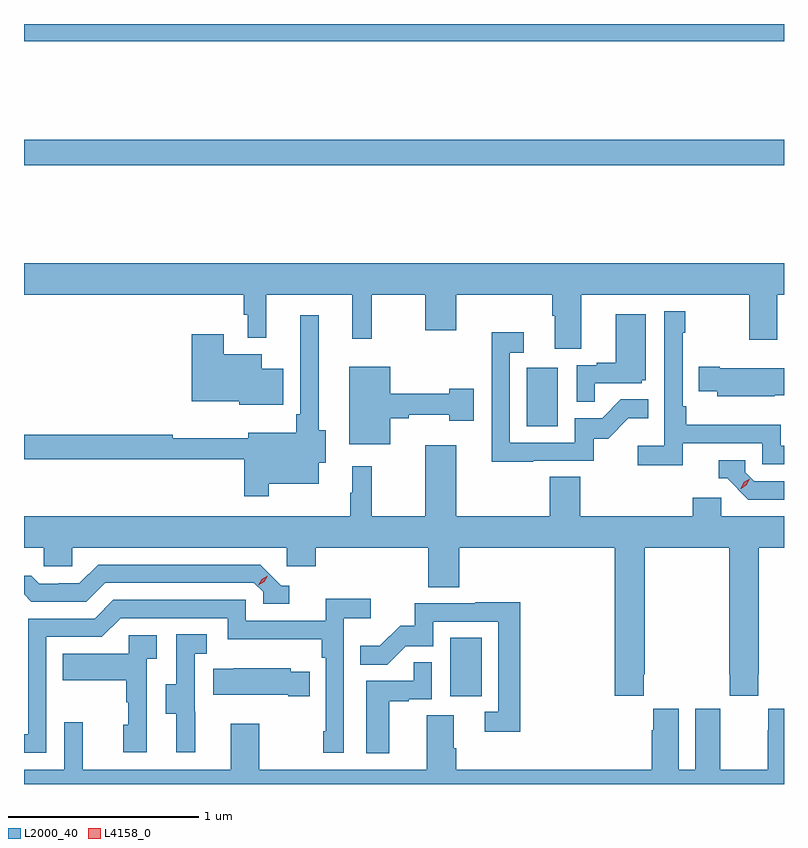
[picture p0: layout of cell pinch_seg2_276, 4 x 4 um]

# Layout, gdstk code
import gdstk
lib = gdstk.Library(unit=1e-6, precision=1e-09)
def R(c, l, rs):  # rectangles x0, y0, x1, y1
    for r in rs: c.add(gdstk.rectangle(r[:2], r[2:], *l))
def P(c, l, *ps):  # polygons
    for p in ps: c.add(gdstk.Polygon(p, *l))
L2000_40 = (2000, 40)
L4158_0 = (4158, 0)

pinch_seg2_276 = lib.new_cell('pinch_seg2_276')
R(pinch_seg2_276, L2000_40, [(932.372,630.87,932.536,631.177), (932.774,632.292,932.938,632.599), (930.128,633.664,934.128,633.8), (930.128,634.316,934.128,634.408)])
P(pinch_seg2_276, L2000_40, [(933.061,632.984),(933.946,632.984),(933.946,632.745),(934.093,632.745),(934.093,632.984),(934.128,632.984),(934.128,633.148),(930.128,633.148),(930.128,632.984),(931.285,632.984),(931.285,632.877),(931.305,632.877),(931.305,632.756),(931.403,632.756),(931.403,632.984),(931.856,632.984),(931.856,632.751),(931.958,632.751),(931.958,632.984),(932.24,632.984),(932.24,632.796),(932.404,632.796),(932.404,632.984),(932.909,632.984),(932.909,632.872),(932.921,632.872),(932.921,632.698),(933.061,632.698)],
  [(933.596,632.202),(934.014,632.202),(934.014,632.091),(934.128,632.091),(934.128,632.187),(934.11,632.187),(934.11,632.299),(933.614,632.299),(933.614,632.395),(933.594,632.395),(933.594,632.783),(933.607,632.783),(933.607,632.896),(933.498,632.896),(933.498,632.188),(933.357,632.188),(933.357,632.086),(933.596,632.086)],
  [(933.131,632.517),(933.378,632.517),(933.378,632.532),(933.4,632.532),(933.4,632.881),(933.242,632.881),(933.242,632.626),(933.143,632.626),(933.143,632.613),(933.036,632.613),(933.036,632.419),(933.131,632.419)],
  [(931.417,631.988),(931.678,631.988),(931.678,632.099),(931.717,632.099),(931.717,632.27),(931.678,632.27),(931.678,632.875),(931.581,632.875),(931.581,632.353),(931.561,632.353),(931.561,632.257),(931.307,632.257),(931.307,632.228),(930.911,632.228),(930.911,632.246),(930.128,632.246),(930.128,632.118),(931.288,632.118),(931.288,631.923),(931.417,631.923)],
  [(932.807,632.109),(933.126,632.109),(933.126,632.226),(933.202,632.226),(933.309,632.333),(933.413,632.333),(933.413,632.432),(933.269,632.432),(933.171,632.334),(933.027,632.334),(933.027,632.205),(932.685,632.205),(932.685,632.679),(932.758,632.679),(932.758,632.785),(932.589,632.785),(932.589,632.104),(932.807,632.104)],
  [(931.492,632.593),(931.378,632.593),(931.378,632.671),(931.18,632.671),(931.18,632.776),(931.01,632.776),(931.01,632.423),(931.26,632.423),(931.26,632.405),(931.492,632.405)],
  [(932.056,632.332),(932.152,632.332),(932.152,632.351),(932.365,632.351),(932.365,632.321),(932.494,632.321),(932.494,632.487),(932.365,632.487),(932.365,632.461),(932.056,632.461),(932.056,632.605),(931.841,632.605),(931.841,632.195),(932.056,632.195)],
  [(934.079,632.453),(934.128,632.453),(934.128,632.596),(933.79,632.596),(933.79,632.604),(933.679,632.604),(933.679,632.474),(933.777,632.474),(933.777,632.45),(934.079,632.45)],
  [(933.389,630.985),(933.396,630.985),(933.396,631.652),(933.841,631.652),(933.841,630.985),(933.843,630.985),(933.843,630.873),(933.993,630.873),(933.993,630.985),(933.996,630.985),(933.996,631.652),(934.128,631.652),(934.128,631.816),(933.798,631.816),(933.798,631.914),(933.647,631.914),(933.647,631.816),(933.056,631.816),(933.056,632.024),(932.896,632.024),(932.896,631.816),(932.404,631.816),(932.404,632.191),(932.24,632.191),(932.24,631.816),(931.958,631.816),(931.958,632.08),(931.856,632.08),(931.856,631.94),(931.845,631.94),(931.845,631.816),(930.128,631.816),(930.128,631.652),(930.231,631.652),(930.231,631.554),(930.381,631.554),(930.381,631.652),(931.512,631.652),(931.512,631.554),(931.664,631.554),(931.664,631.652),(932.255,631.652),(932.255,631.444),(932.42,631.444),(932.42,631.652),(933.236,631.652),(933.236,630.873),(933.389,630.873)],
  [(934.128,632.001),(933.972,632.001),(933.924,632.049),(933.924,632.112),(933.785,632.112),(933.785,632.016),(933.828,632.016),(933.939,631.905),(934.128,631.905)],
  [(931.525,631.452),(931.482,631.452),(931.371,631.563),(930.518,631.563),(930.419,631.464),(930.312,631.464),(930.312,631.461),(930.209,631.461),(930.167,631.504),(930.128,631.504),(930.128,631.407),(930.167,631.368),(930.456,631.368),(930.555,631.467),(931.338,631.467),(931.386,631.419),(931.386,631.356),(931.525,631.356)],
  [(930.246,631.182),(930.537,631.182),(930.636,631.281),(931.2,631.281),(931.2,631.169),(931.696,631.169),(931.696,631.073),(931.716,631.073),(931.716,630.685),(931.704,630.685),(931.704,630.573),(931.812,630.573),(931.812,631.28),(931.954,631.28),(931.954,631.382),(931.715,631.382),(931.715,631.266),(931.296,631.266),(931.296,631.377),(930.599,631.377),(930.5,631.278),(930.15,631.278),(930.15,630.669),(930.128,630.669),(930.128,630.573),(930.246,630.573)],
  [(932.741,631.364),(932.503,631.364),(932.503,631.359),(932.185,631.359),(932.185,631.242),(932.108,631.242),(932.001,631.135),(931.897,631.135),(931.897,631.036),(932.04,631.036),(932.138,631.134),(932.283,631.134),(932.283,631.263),(932.625,631.263),(932.625,630.789),(932.553,630.789),(932.553,630.684),(932.741,630.684)],
  [(931.028,630.789),(931.026,630.789),(931.026,631.093),(931.09,631.093),(931.09,631.196),(930.93,631.196),(930.93,630.933),(930.875,630.933),(930.875,630.778),(930.929,630.778),(930.929,630.576),(931.028,630.576)],
  [(930.774,631.067),(930.826,631.067),(930.826,631.191),(930.678,631.191),(930.678,631.093),(930.331,631.093),(930.331,630.953),(930.666,630.953),(930.666,630.839),(930.676,630.839),(930.676,630.72),(930.65,630.72),(930.65,630.576),(930.774,630.576)],
  [(932.05,630.843),(932.153,630.843),(932.153,630.855),(932.274,630.855),(932.274,631.049),(932.179,631.049),(932.179,630.951),(931.928,630.951),(931.928,630.569),(932.05,630.569)],
  [(931.631,631),(931.533,631),(931.533,631.018),(931.231,631.018),(931.231,631.015),(931.123,631.015),(931.123,630.878),(931.52,630.878),(931.52,630.871),(931.631,630.871)],
  [(934.128,630.805),(934.044,630.805),(934.044,630.692),(934.043,630.692),(934.043,630.484),(933.793,630.484),(933.793,630.692),(933.792,630.692),(933.792,630.805),(933.662,630.805),(933.662,630.484),(933.574,630.484),(933.574,630.805),(933.44,630.805),(933.44,630.692),(933.431,630.692),(933.431,630.484),(932.402,630.484),(932.402,630.596),(932.389,630.596),(932.389,630.77),(932.249,630.77),(932.249,630.484),(931.365,630.484),(931.365,630.724),(931.217,630.724),(931.217,630.484),(930.437,630.484),(930.437,630.733),(930.339,630.733),(930.339,630.484),(930.128,630.484),(930.128,630.408),(934.128,630.408)])
P(pinch_seg2_276, L4158_0, [(931.362,631.453),(931.362,631.453),(931.378,631.486),(931.41,631.505),(931.41,631.505),(931.41,631.505),(931.393,631.472),(931.362,631.453)],
  [(933.901,631.963),(933.901,631.963),(933.917,631.995),(933.947,632.015),(933.947,632.015),(933.947,632.015),(933.932,631.982),(933.902,631.963)])

lib.write_gds('pinch_seg2_276.gds')
